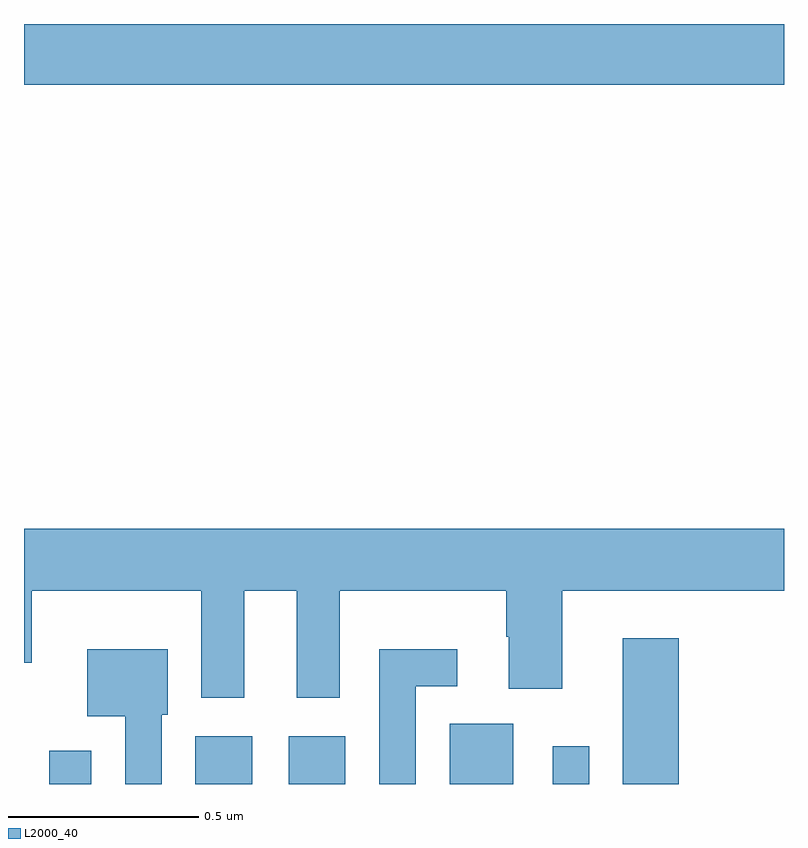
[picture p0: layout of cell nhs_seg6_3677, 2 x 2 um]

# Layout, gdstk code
import gdstk
lib = gdstk.Library(unit=1e-6, precision=1e-09)
def R(c, l, rs):  # rectangles x0, y0, x1, y1
    for r in rs: c.add(gdstk.rectangle(r[:2], r[2:], *l))
def P(c, l, *ps):  # polygons
    for p in ps: c.add(gdstk.Polygon(p, *l))
L2000_40 = (2000, 40)

nhs_seg6_3677 = lib.new_cell('nhs_seg6_3677')
R(nhs_seg6_3677, L2000_40, [(160.067,941.5,160.177,941.587), (160.451,941.5,160.6,941.626), (160.697,941.5,160.846,941.626), (161.12,941.5,161.287,941.659), (161.391,941.5,161.487,941.599), (161.576,941.5,161.723,941.884), (160,943.34,162,943.5)])
P(nhs_seg6_3677, L2000_40, [(160.579,942.008),(160.718,942.008),(160.718,941.727),(160.831,941.727),(160.831,942.008),(161.269,942.008),(161.269,941.888),(161.276,941.888),(161.276,941.751),(161.416,941.751),(161.416,942.008),(162,942.008),(162,942.172),(160,942.172),(160,941.819),(160.021,941.819),(160.021,942.008),(160.466,942.008),(160.466,941.727),(160.579,941.727)],
  [(160.362,941.682),(160.378,941.682),(160.378,941.854),(160.166,941.854),(160.166,941.678),(160.266,941.678),(160.266,941.5),(160.362,941.5)],
  [(161.031,941.757),(161.14,941.757),(161.14,941.854),(160.935,941.854),(160.935,941.5),(161.031,941.5)])

lib.write_gds('nhs_seg6_3677.gds')
